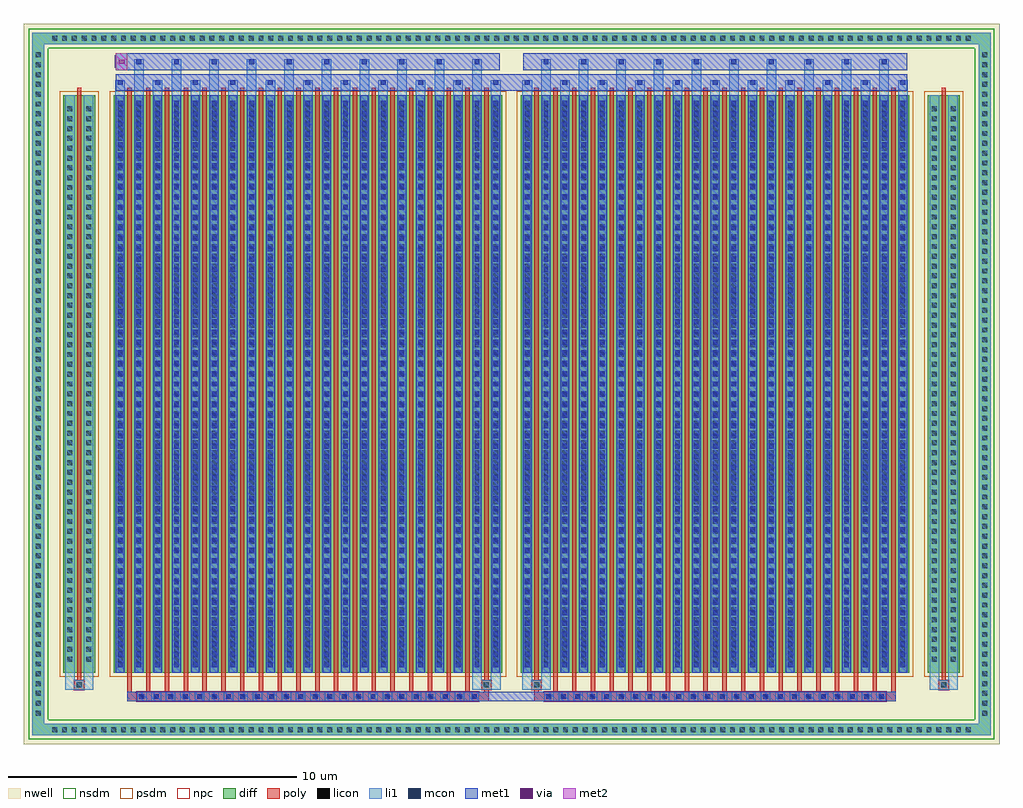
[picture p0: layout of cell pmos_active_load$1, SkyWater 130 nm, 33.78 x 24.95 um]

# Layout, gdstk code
import gdstk
lib = gdstk.Library(unit=1e-6, precision=5e-09)
def R(c, l, rs):  # rectangles x0, y0, x1, y1
    for r in rs: c.add(gdstk.rectangle(r[:2], r[2:], *l))
def A(c, l, x, y, w, h, nx, ny, dx, dy):  # array of equal rectangles
    R(c, l, [(x+i*dx, y+j*dy, x+i*dx+w, y+j*dy+h) for i in range(nx) for j in range(ny)])
def P(c, l, *ps):  # polygons
    for p in ps: c.add(gdstk.Polygon(p, *l))
nwell = (64, 20)
diff = (65, 20)
poly = (66, 20)
licon = (66, 44)
li1 = (67, 20)
mcon = (67, 44)
met1 = (68, 20)
via = (68, 44)
met2 = (69, 20)
nsdm = (93, 44)
psdm = (94, 20)
npc = (95, 20)

multiplier_42b28d44 = lib.new_cell('multiplier_42b28d44')
R(multiplier_42b28d44, diff, [(-8.465,-10,-7.365,10), (-6.725,-10,6.725,10), (7.365,-10,8.465,10)])
A(multiplier_42b28d44, poly, -5.915, -10.98, 0.33, 0.33, 24, 1, 0.5, 0)
A(multiplier_42b28d44, poly, -6.25, -10.65, 0.15, 0.4, 20, 1, 0.65, 0)
A(multiplier_42b28d44, poly, -6.25, -10.25, 0.15, 20.5, 20, 1, 0.65, 0)
R(multiplier_42b28d44, poly, [(-6.25,-10.98,6.25,-10.65), (-8.08,-10.58,-7.75,-10.25), (-8.08,-10.58,-7.75,-10.25), (7.75,-10.58,8.08,-10.25), (7.75,-10.58,8.08,-10.25), (-7.99,-10.25,-7.84,10.25), (7.84,-10.25,7.99,10.25)])
A(multiplier_42b28d44, licon, -5.835, -10.9, 0.17, 0.17, 24, 1, 0.5, 0)
A(multiplier_42b28d44, licon, -8.325, -9.605, 0.17, 0.17, 1, 57, 0, 0.34)
A(multiplier_42b28d44, licon, -7.675, -9.605, 0.17, 0.17, 1, 57, 0, 0.34)
A(multiplier_42b28d44, licon, -6.585, -9.605, 0.17, 0.17, 21, 57, 0.65, 0.34)
A(multiplier_42b28d44, licon, 7.505, -9.605, 0.17, 0.17, 1, 57, 0, 0.34)
A(multiplier_42b28d44, licon, 8.155, -9.605, 0.17, 0.17, 1, 57, 0, 0.34)
R(multiplier_42b28d44, licon, [(-8,-10.5,-7.83,-10.33), (7.83,-10.5,8,-10.33)])
A(multiplier_42b28d44, li1, -5.915, -10.98, 0.33, 0.33, 24, 1, 0.5, 0)
A(multiplier_42b28d44, li1, -6.665, -10, 0.33, 20, 21, 1, 0.65, 0)
A(multiplier_42b28d44, li1, -6.585, -9.805, 0.17, 0.17, 21, 55, 0.65, 0.36)
A(multiplier_42b28d44, li1, -6.585, -9.805, 0.17, 19.61, 21, 1, 0.65, 0)
A(multiplier_42b28d44, li1, -8.405, -9.685, 0.33, 0.33, 1, 57, 0, 0.34)
A(multiplier_42b28d44, li1, -7.755, -9.685, 0.33, 0.33, 1, 57, 0, 0.34)
A(multiplier_42b28d44, li1, -6.665, -9.685, 0.33, 0.33, 21, 57, 0.65, 0.34)
A(multiplier_42b28d44, li1, 7.425, -9.685, 0.33, 0.33, 1, 57, 0, 0.34)
A(multiplier_42b28d44, li1, 8.075, -9.685, 0.33, 0.33, 1, 57, 0, 0.34)
A(multiplier_42b28d44, li1, -6.665, 10, 0.33, 0.52, 11, 1, 1.3, 0)
A(multiplier_42b28d44, li1, -6.015, 10, 0.33, 1.24, 10, 1, 1.3, 0)
A(multiplier_42b28d44, li1, -6.585, 10.35, 0.17, 0.17, 11, 1, 1.3, 0)
A(multiplier_42b28d44, li1, -5.935, 11.07, 0.17, 0.17, 10, 1, 1.3, 0)
R(multiplier_42b28d44, li1, [(-8.405,-10.58,-8.08,-10.25), (-8.405,-10.58,-8.075,-10), (-8.08,-10.58,-7.75,-10.25), (-7.755,-10.58,-7.425,-10), (-7.75,-10.58,-7.425,-10.25), (7.425,-10.58,7.75,-10.25), (7.425,-10.58,7.755,-10), (7.75,-10.58,8.08,-10.25), (8.075,-10.58,8.405,-10), (8.08,-10.58,8.405,-10.25), (-8.405,-10,-8.075,10), (-7.755,-10,-7.425,10), (7.425,-10,7.755,10), (8.075,-10,8.405,10)])
A(multiplier_42b28d44, mcon, -5.835, -10.9, 0.17, 0.17, 24, 1, 0.5, 0)
A(multiplier_42b28d44, mcon, -6.585, -9.805, 0.17, 0.17, 21, 55, 0.65, 0.36)
A(multiplier_42b28d44, mcon, -6.585, 10.35, 0.17, 0.17, 11, 1, 1.3, 0)
A(multiplier_42b28d44, mcon, -5.935, 11.07, 0.17, 0.17, 10, 1, 1.3, 0)
A(multiplier_42b28d44, met1, -5.895, -10.96, 0.29, 0.29, 24, 1, 0.5, 0)
A(multiplier_42b28d44, met1, -6.645, -10, 0.29, 20, 21, 1, 0.65, 0)
A(multiplier_42b28d44, met1, -6.645, -9.865, 0.29, 0.29, 21, 55, 0.65, 0.36)
A(multiplier_42b28d44, met1, -6.645, 10.29, 0.29, 0.29, 11, 1, 1.3, 0)
A(multiplier_42b28d44, met1, -5.995, 11.01, 0.29, 0.29, 10, 1, 1.3, 0)
R(multiplier_42b28d44, met1, [(-6.25,-10.98,6.25,-10.65), (-6.645,10.145,6.645,10.725), (-6.645,10.865,6.645,11.445)])
R(multiplier_42b28d44, psdm, [(-8.595,-10.13,-7.235,10.13), (-6.855,-10.13,6.855,10.13), (7.235,-10.13,8.595,10.13)])
A(multiplier_42b28d44, npc, -5.935, -11, 0.37, 0.37, 24, 1, 0.5, 0)
R(multiplier_42b28d44, npc, [(-5.935,-11,-5.065,-10.63), (-5.935,-11,-5.065,-10.63), (-5.435,-11,-4.565,-10.63), (-5.435,-11,-4.565,-10.63), (-4.935,-11,-4.065,-10.63), (-4.935,-11,-4.065,-10.63), (-4.435,-11,-3.565,-10.63), (-4.435,-11,-3.565,-10.63), (-3.935,-11,-3.065,-10.63), (-3.935,-11,-3.065,-10.63), (-3.435,-11,-2.565,-10.63), (-3.435,-11,-2.565,-10.63), (-2.935,-11,-2.065,-10.63), (-2.935,-11,-2.065,-10.63), (-2.435,-11,-1.565,-10.63), (-2.435,-11,-1.565,-10.63), (-1.935,-11,-1.065,-10.63), (-1.935,-11,-1.065,-10.63), (-1.435,-11,-0.565,-10.63), (-1.435,-11,-0.565,-10.63), (-0.935,-11,-0.065,-10.63), (-0.935,-11,-0.065,-10.63), (-0.435,-11,0.435,-10.63), (-0.435,-11,0.435,-10.63), (0.065,-11,0.935,-10.63), (0.065,-11,0.935,-10.63), (0.565,-11,1.435,-10.63), (0.565,-11,1.435,-10.63), (1.065,-11,1.935,-10.63), (1.065,-11,1.935,-10.63), (1.565,-11,2.435,-10.63), (1.565,-11,2.435,-10.63), (2.065,-11,2.935,-10.63), (2.065,-11,2.935,-10.63), (2.565,-11,3.435,-10.63), (2.565,-11,3.435,-10.63), (3.065,-11,3.935,-10.63), (3.065,-11,3.935,-10.63), (3.565,-11,4.435,-10.63), (3.565,-11,4.435,-10.63), (4.065,-11,4.935,-10.63), (4.065,-11,4.935,-10.63), (4.565,-11,5.435,-10.63), (4.565,-11,5.435,-10.63), (5.065,-11,5.935,-10.63), (5.065,-11,5.935,-10.63), (-8.1,-10.6,-7.73,-10.23), (7.73,-10.6,8.1,-10.23)])

multiplier_42b28d44_1 = lib.new_cell('multiplier_42b28d44$1')
R(multiplier_42b28d44_1, diff, [(-8.465,-10,-7.365,10), (-6.725,-10,6.725,10), (7.365,-10,8.465,10)])
A(multiplier_42b28d44_1, poly, -5.915, -10.98, 0.33, 0.33, 24, 1, 0.5, 0)
A(multiplier_42b28d44_1, poly, -6.25, -10.65, 0.15, 0.4, 20, 1, 0.65, 0)
A(multiplier_42b28d44_1, poly, -6.25, -10.25, 0.15, 20.5, 20, 1, 0.65, 0)
R(multiplier_42b28d44_1, poly, [(-6.25,-10.98,6.25,-10.65), (-8.08,-10.58,-7.75,-10.25), (-8.08,-10.58,-7.75,-10.25), (7.75,-10.58,8.08,-10.25), (7.75,-10.58,8.08,-10.25), (-7.99,-10.25,-7.84,10.25), (7.84,-10.25,7.99,10.25)])
A(multiplier_42b28d44_1, licon, -5.835, -10.9, 0.17, 0.17, 24, 1, 0.5, 0)
A(multiplier_42b28d44_1, licon, -8.325, -9.605, 0.17, 0.17, 1, 57, 0, 0.34)
A(multiplier_42b28d44_1, licon, -7.675, -9.605, 0.17, 0.17, 1, 57, 0, 0.34)
A(multiplier_42b28d44_1, licon, -6.585, -9.605, 0.17, 0.17, 21, 57, 0.65, 0.34)
A(multiplier_42b28d44_1, licon, 7.505, -9.605, 0.17, 0.17, 1, 57, 0, 0.34)
A(multiplier_42b28d44_1, licon, 8.155, -9.605, 0.17, 0.17, 1, 57, 0, 0.34)
R(multiplier_42b28d44_1, licon, [(-8,-10.5,-7.83,-10.33), (7.83,-10.5,8,-10.33)])
A(multiplier_42b28d44_1, li1, -5.915, -10.98, 0.33, 0.33, 24, 1, 0.5, 0)
A(multiplier_42b28d44_1, li1, -6.665, -10, 0.33, 20, 21, 1, 0.65, 0)
A(multiplier_42b28d44_1, li1, -6.585, -9.805, 0.17, 0.17, 21, 55, 0.65, 0.36)
A(multiplier_42b28d44_1, li1, -6.585, -9.805, 0.17, 19.61, 21, 1, 0.65, 0)
A(multiplier_42b28d44_1, li1, -8.405, -9.685, 0.33, 0.33, 1, 57, 0, 0.34)
A(multiplier_42b28d44_1, li1, -7.755, -9.685, 0.33, 0.33, 1, 57, 0, 0.34)
A(multiplier_42b28d44_1, li1, -6.665, -9.685, 0.33, 0.33, 21, 57, 0.65, 0.34)
A(multiplier_42b28d44_1, li1, 7.425, -9.685, 0.33, 0.33, 1, 57, 0, 0.34)
A(multiplier_42b28d44_1, li1, 8.075, -9.685, 0.33, 0.33, 1, 57, 0, 0.34)
A(multiplier_42b28d44_1, li1, -6.665, 10, 0.33, 0.52, 11, 1, 1.3, 0)
A(multiplier_42b28d44_1, li1, -6.015, 10, 0.33, 1.24, 10, 1, 1.3, 0)
A(multiplier_42b28d44_1, li1, -6.585, 10.35, 0.17, 0.17, 11, 1, 1.3, 0)
A(multiplier_42b28d44_1, li1, -5.935, 11.07, 0.17, 0.17, 10, 1, 1.3, 0)
R(multiplier_42b28d44_1, li1, [(-8.405,-10.58,-8.08,-10.25), (-8.405,-10.58,-8.075,-10), (-8.08,-10.58,-7.75,-10.25), (-7.755,-10.58,-7.425,-10), (-7.75,-10.58,-7.425,-10.25), (7.425,-10.58,7.75,-10.25), (7.425,-10.58,7.755,-10), (7.75,-10.58,8.08,-10.25), (8.075,-10.58,8.405,-10), (8.08,-10.58,8.405,-10.25), (-8.405,-10,-8.075,10), (-7.755,-10,-7.425,10), (7.425,-10,7.755,10), (8.075,-10,8.405,10)])
A(multiplier_42b28d44_1, mcon, -5.835, -10.9, 0.17, 0.17, 24, 1, 0.5, 0)
A(multiplier_42b28d44_1, mcon, -6.585, -9.805, 0.17, 0.17, 21, 55, 0.65, 0.36)
A(multiplier_42b28d44_1, mcon, -6.585, 10.35, 0.17, 0.17, 11, 1, 1.3, 0)
A(multiplier_42b28d44_1, mcon, -5.935, 11.07, 0.17, 0.17, 10, 1, 1.3, 0)
A(multiplier_42b28d44_1, met1, -5.895, -10.96, 0.29, 0.29, 24, 1, 0.5, 0)
A(multiplier_42b28d44_1, met1, -6.645, -10, 0.29, 20, 21, 1, 0.65, 0)
A(multiplier_42b28d44_1, met1, -6.645, -9.865, 0.29, 0.29, 21, 55, 0.65, 0.36)
A(multiplier_42b28d44_1, met1, -6.645, 10.29, 0.29, 0.29, 11, 1, 1.3, 0)
A(multiplier_42b28d44_1, met1, -5.995, 11.01, 0.29, 0.29, 10, 1, 1.3, 0)
R(multiplier_42b28d44_1, met1, [(-6.25,-10.98,6.25,-10.65), (-6.645,10.145,6.645,10.725), (-6.645,10.865,6.645,11.445)])
R(multiplier_42b28d44_1, psdm, [(-8.595,-10.13,-7.235,10.13), (-6.855,-10.13,6.855,10.13), (7.235,-10.13,8.595,10.13)])
A(multiplier_42b28d44_1, npc, -5.935, -11, 0.37, 0.37, 24, 1, 0.5, 0)
R(multiplier_42b28d44_1, npc, [(-5.935,-11,-5.065,-10.63), (-5.935,-11,-5.065,-10.63), (-5.435,-11,-4.565,-10.63), (-5.435,-11,-4.565,-10.63), (-4.935,-11,-4.065,-10.63), (-4.935,-11,-4.065,-10.63), (-4.435,-11,-3.565,-10.63), (-4.435,-11,-3.565,-10.63), (-3.935,-11,-3.065,-10.63), (-3.935,-11,-3.065,-10.63), (-3.435,-11,-2.565,-10.63), (-3.435,-11,-2.565,-10.63), (-2.935,-11,-2.065,-10.63), (-2.935,-11,-2.065,-10.63), (-2.435,-11,-1.565,-10.63), (-2.435,-11,-1.565,-10.63), (-1.935,-11,-1.065,-10.63), (-1.935,-11,-1.065,-10.63), (-1.435,-11,-0.565,-10.63), (-1.435,-11,-0.565,-10.63), (-0.935,-11,-0.065,-10.63), (-0.935,-11,-0.065,-10.63), (-0.435,-11,0.435,-10.63), (-0.435,-11,0.435,-10.63), (0.065,-11,0.935,-10.63), (0.065,-11,0.935,-10.63), (0.565,-11,1.435,-10.63), (0.565,-11,1.435,-10.63), (1.065,-11,1.935,-10.63), (1.065,-11,1.935,-10.63), (1.565,-11,2.435,-10.63), (1.565,-11,2.435,-10.63), (2.065,-11,2.935,-10.63), (2.065,-11,2.935,-10.63), (2.565,-11,3.435,-10.63), (2.565,-11,3.435,-10.63), (3.065,-11,3.935,-10.63), (3.065,-11,3.935,-10.63), (3.565,-11,4.435,-10.63), (3.565,-11,4.435,-10.63), (4.065,-11,4.935,-10.63), (4.065,-11,4.935,-10.63), (4.565,-11,5.435,-10.63), (4.565,-11,5.435,-10.63), (5.065,-11,5.935,-10.63), (5.065,-11,5.935,-10.63), (-8.1,-10.6,-7.73,-10.23), (7.73,-10.6,8.1,-10.23)])

straight_route_62b8b3ec = lib.new_cell('straight_route_62b8b3ec')
R(straight_route_62b8b3ec, met1, [(-0.4,10.145,0.4,10.725)])

straight_route_da3c4ff8 = lib.new_cell('straight_route_da3c4ff8')
R(straight_route_da3c4ff8, met1, [(-0.795,-10.98,0.795,-10.65)])

straight_route_3648ffff = lib.new_cell('straight_route_3648ffff')
R(straight_route_3648ffff, met1, [(-13.74,10.94,-13.31,11.37), (-13.675,10.94,-13.245,11.37)])
R(straight_route_3648ffff, via, [(-13.6,11.08,-13.45,11.23), (-13.535,11.08,-13.385,11.23)])
R(straight_route_3648ffff, met2, [(-13.69,10.865,-13.295,11.445), (-13.69,10.99,-13.36,11.32), (-13.625,10.99,-13.295,11.32)])

unnamed_7843aed0_1 = lib.new_cell('Unnamed_7843aed0$1')
A(unnamed_7843aed0_1, diff, -16.015, -12.165, 0.41, 0.41, 94, 2, 0.34, 23.92)
A(unnamed_7843aed0_1, diff, -16.58, -11.595, 0.41, 0.41, 1, 68, 0, 0.34)
A(unnamed_7843aed0_1, diff, 16.17, -11.595, 0.41, 0.41, 1, 68, 0, 0.34)
R(unnamed_7843aed0_1, diff, [(-16.015,-12.165,16.015,-11.755), (-16.58,-11.595,-16.17,11.595), (16.17,-11.595,16.58,11.595), (-16.015,11.755,16.015,12.165)])
P(unnamed_7843aed0_1, diff, [(16.58,12.165),(-16.58,12.165),(-16.58,-11.755),(-16.17,-11.755),(-16.17,11.755),(16.17,11.755),(16.17,-11.755),(-16.17,-11.755),(-16.58,-11.755),(-16.58,-12.165),(16.58,-12.165)])
A(unnamed_7843aed0_1, licon, -15.895, -12.045, 0.17, 0.17, 94, 2, 0.34, 23.92)
A(unnamed_7843aed0_1, licon, -16.46, -11.475, 0.17, 0.17, 1, 68, 0, 0.34)
A(unnamed_7843aed0_1, licon, 16.29, -11.475, 0.17, 0.17, 1, 68, 0, 0.34)
A(unnamed_7843aed0_1, li1, -15.975, -12.125, 0.33, 0.33, 94, 2, 0.34, 23.92)
A(unnamed_7843aed0_1, li1, -16.54, -11.555, 0.33, 0.33, 1, 68, 0, 0.34)
A(unnamed_7843aed0_1, li1, 16.21, -11.555, 0.33, 0.33, 1, 68, 0, 0.34)
R(unnamed_7843aed0_1, li1, [(-16.58,-12.165,-16.17,-11.755), (-16.58,-12.165,-16.17,-11.755), (-16.17,-12.165,16.17,-11.755), (16.17,-12.165,16.58,-11.755), (16.17,-12.165,16.58,-11.755), (-16.58,-11.755,-16.17,11.755), (16.17,-11.755,16.58,11.755), (-16.58,11.755,-16.17,12.165), (-16.58,11.755,-16.17,12.165), (-16.17,11.755,16.17,12.165), (16.17,11.755,16.58,12.165), (16.17,11.755,16.58,12.165)])
P(unnamed_7843aed0_1, nsdm, [(16.71,12.295),(-16.71,12.295),(-16.71,-11.625),(-16.04,-11.625),(-16.04,11.625),(16.04,11.625),(16.04,-11.625),(-16.04,-11.625),(-16.71,-11.625),(-16.71,-12.295),(16.71,-12.295)])

compass_7bf8141b = lib.new_cell('compass_7bf8141b')
R(compass_7bf8141b, nwell, [(-16.89,-12.475,16.89,12.475)])

rectangle_cf69509a = lib.new_cell('rectangle_cf69509a')
rectangle_cf69509a.add(gdstk.Reference(compass_7bf8141b, (0,0)))

pmos_active_load_1 = lib.new_cell('pmos_active_load$1')
pmos_active_load_1.add(gdstk.Reference(multiplier_42b28d44, (-7.045,0)))
pmos_active_load_1.add(gdstk.Reference(multiplier_42b28d44_1, (7.045,0)))
pmos_active_load_1.add(gdstk.Reference(straight_route_62b8b3ec, (0,0)))
pmos_active_load_1.add(gdstk.Reference(straight_route_da3c4ff8, (0,0)))
pmos_active_load_1.add(gdstk.Reference(straight_route_3648ffff, (0,0)))
pmos_active_load_1.add(gdstk.Reference(unnamed_7843aed0_1, (0,0)))
pmos_active_load_1.add(gdstk.Reference(rectangle_cf69509a, (0,0)))

lib.write_gds('pmos_active_load_1.gds')
